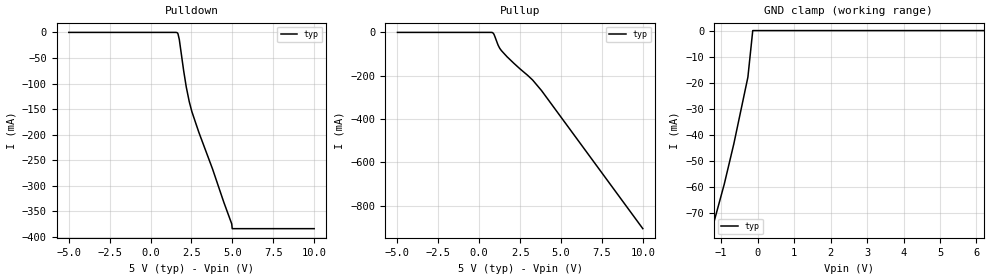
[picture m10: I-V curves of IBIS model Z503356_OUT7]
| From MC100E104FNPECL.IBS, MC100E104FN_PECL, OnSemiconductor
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| (C) COPYRIGHT 1993-2000
| MENTOR GRAPHICS CORPORATION
| ICX STANDARD LIBRARY, ICX PROJECT MODELING,
| ICX CUSTOM MODELING, ICX VENDOR MODEL
| ALL RIGHTS RESERVED.
| THE FOLLOWING ARE TRADEMARKS OR SERVICE MARKS OF
| MENTOR GRAPHICS CORPORATION:ICX (R), ICX STANDARD
| LIBRARY(R), ICX PROJECT MODELING(R), ICX CUSTOM
| MODELING(R), qualityIBIS(TM), MODELVIEWER(TM),
| AND MODELEDITOR(TM)
| ALL COPIES OF SOFTWARE, INCLUDING BUT NOT LIMITED TO
| ANY MODIFICATIONS, ENHANCEMENTS OR DERIVATIVE WORKS,
| MUST CONTAIN ALL MENTOR GRAPHICS CORPORATION'S
| NOTICES AND LEGENDS, INCLUDING THOSE EMBEDDED IN
| SOFTWARE AND THOSE AFFIXED TO SOFTWARE MEDIUM
| AND CONTAINER, AS RECEIVED FROM MENTOR GRAPHICS
| CORPORATION.
| Model Application Version 1.89 2/18/99.
[Model] Z503356_OUT7
Model_type Output_ECL
Vref=3.000V
Rref=50.00ohms
Cref=0.000F
Vmeas=3.677V
C_comp 8.000pF NA NA
| variable typ   min   max
[Voltage Range] 5.000V NA NA
[POWER Clamp Reference] 5.000V NA NA
[Pullup Reference] 5.000V NA NA
[Pulldown Reference] 5.000V NA NA
[GND Clamp Reference] 0.000V NA NA
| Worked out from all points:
|   GND clamp passes 1 mA (typ) near -0.14 V on its own axis
[GND Clamp]
-5V       -269.2mA   NA         NA
-916mV    -59mA      NA         NA
-653mV    -43.5mA    NA         NA
-267mV    -17.9mA    NA         NA
-133.5mV  0A         NA         NA
10V       0A         NA         NA
[Pulldown]
-5V       0A         NA         NA
1.613V    -400uA     NA         NA
1.674V    -2.7mA     NA         NA
1.755V    -13.7mA    NA         NA
2.019V    -74.3mA    NA         NA
2.181V    -106.7mA   NA         NA
2.364V    -135.5mA   NA         NA
2.526V    -155.2mA   NA         NA
2.952V    -195.6mA   NA         NA
4.961V    -374.6mA   NA         NA
4.992V    -383.9mA   NA         NA
10V       -383.9mA   NA         NA
[Pullup]
-5V       0A         NA         NA
827mV     -1.6mA     NA         NA
928mV     -13.7mA    NA         NA
1.152V    -58.8mA    NA         NA
1.354V    -84mA      NA         NA
2.105V    -141.8mA   NA         NA
3.262V    -219.7mA   NA         NA
3.81V     -268.8mA   NA         NA
10V       -906.1mA   NA         NA
[POWER Clamp]
-5V       0A         NA         NA
10V       0A         NA         NA
[Ramp]
| variable typ min max
dV/dt_r 487.9m/375.9p NA NA
dV/dt_f 487.9m/192.6p NA NA
R_load = 500.0Ohms
